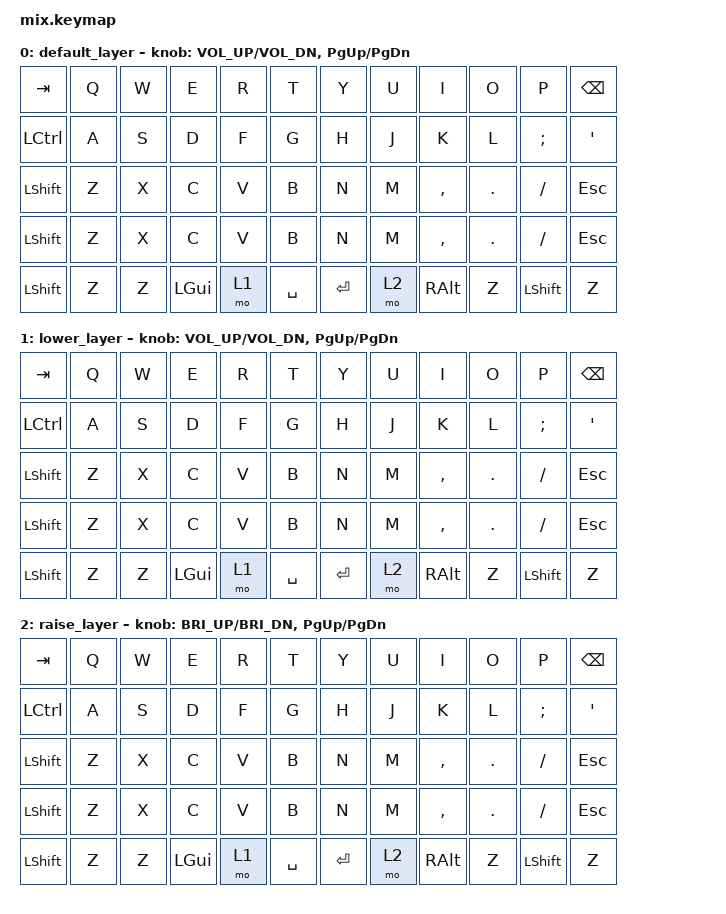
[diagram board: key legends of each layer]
/*
 * Copyright (c) 2020 The ZMK Contributors
 *
 * SPDX-License-Identifier: MIT
 */

#include <behaviors.dtsi>
#include <dt-bindings/zmk/keys.h>
#include <dt-bindings/zmk/bt.h>

#include <dt-bindings/zmk/outputs.h>
#include <zephyr/dt-bindings/input/input-event-codes.h>
#include <input/processors.dtsi>
#include <dt-bindings/zmk/input_transform.h>
#include <dt-bindings/zmk/ext_power.h>
#include <dt-bindings/zmk/pointing.h>

/ {
    glidepoint_listener: glidepoint_listener {
        compatible = "zmk,input-listener";
        status = "disabled";
    };

    behaviors {
        hm: homerow_mod {
            compatible = "zmk,behavior-hold-tap";
            #binding-cells = <2>;
            tapping-term-ms = <250>;
            quick-tap-ms = <150>;
            require-prior-idle-ms = <250>;
            flavor = "tap-preferred";
            bindings = <&kp>, <&kp>;
            display-name = "Home Row Mod";
        };
    };
};

/ {
        keymap {
                compatible = "zmk,keymap";

                default_layer {

                        bindings = <
   &kp TAB   &kp Q &kp W &kp E &kp R &kp T                       &kp Y &kp U  &kp I     &kp O   &kp P    &kp BSPC
   &kp LCTRL &kp A &kp S &kp D &kp F &kp G                        &kp H &kp J  &kp K     &kp L   &kp SEMI &kp SQT
   &kp LSHFT &kp Z &kp X &kp C &kp V &kp B                        &kp N &kp M  &kp COMMA &kp DOT &kp FSLH &kp ESC
   &kp LSHFT &kp Z &kp X &kp C &kp V &kp B                        &kp N &kp M  &kp COMMA &kp DOT &kp FSLH &kp ESC
   &kp LSHFT &kp Z &kp Z     &kp LGUI &mo 1 &kp SPACE     &kp RET &mo 2 &kp RALT         &kp Z   &kp LSHFT &kp Z
                        >;
                        sensor-bindings = <&inc_dec_kp C_VOL_UP C_VOL_DN &inc_dec_kp PG_UP PG_DN>;
                };
                lower_layer {

                        bindings = <
   &kp TAB   &kp Q &kp W &kp E &kp R &kp T                       &kp Y &kp U  &kp I     &kp O   &kp P    &kp BSPC
   &kp LCTRL &kp A &kp S &kp D &kp F &kp G                        &kp H &kp J  &kp K     &kp L   &kp SEMI &kp SQT
   &kp LSHFT &kp Z &kp X &kp C &kp V &kp B                        &kp N &kp M  &kp COMMA &kp DOT &kp FSLH &kp ESC
   &kp LSHFT &kp Z &kp X &kp C &kp V &kp B                        &kp N &kp M  &kp COMMA &kp DOT &kp FSLH &kp ESC
   &kp LSHFT &kp Z &kp Z     &kp LGUI &mo 1 &kp SPACE     &kp RET &mo 2 &kp RALT         &kp Z   &kp LSHFT &kp Z
                        >;
                        sensor-bindings = <&inc_dec_kp C_VOL_UP C_VOL_DN &inc_dec_kp PG_UP PG_DN>;
                };

                raise_layer {

                       bindings = <
   &kp TAB   &kp Q &kp W &kp E &kp R &kp T                       &kp Y &kp U  &kp I     &kp O   &kp P    &kp BSPC
   &kp LCTRL &kp A &kp S &kp D &kp F &kp G                        &kp H &kp J  &kp K     &kp L   &kp SEMI &kp SQT
   &kp LSHFT &kp Z &kp X &kp C &kp V &kp B                        &kp N &kp M  &kp COMMA &kp DOT &kp FSLH &kp ESC
   &kp LSHFT &kp Z &kp X &kp C &kp V &kp B                        &kp N &kp M  &kp COMMA &kp DOT &kp FSLH &kp ESC
   &kp LSHFT &kp Z &kp Z     &kp LGUI &mo 1 &kp SPACE     &kp RET &mo 2 &kp RALT         &kp Z   &kp LSHFT &kp Z
                        >;
                        sensor-bindings = <&inc_dec_kp C_BRI_UP C_BRI_DN &inc_dec_kp PG_UP PG_DN>;
                };
        };
};
